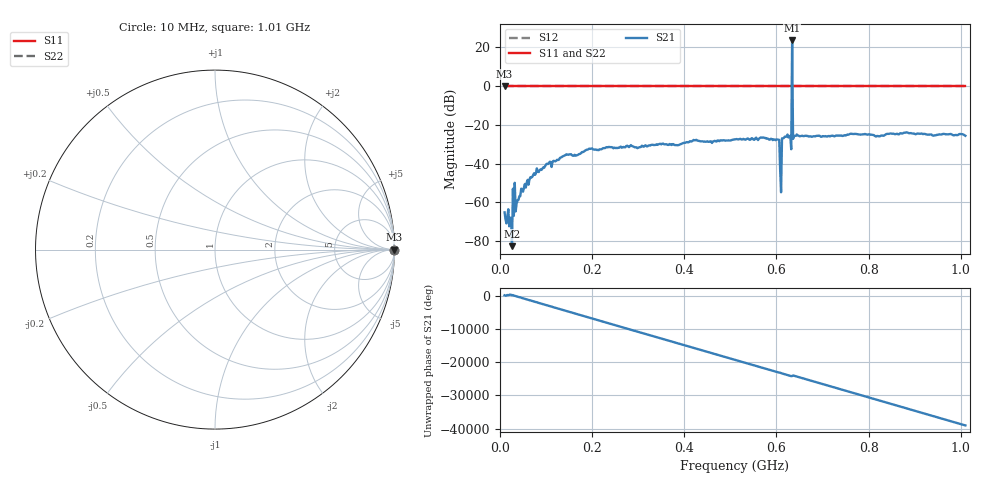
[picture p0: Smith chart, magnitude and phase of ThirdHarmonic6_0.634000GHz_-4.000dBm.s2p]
! 8/15/2025 8:55:41 PM
! C:\ANRITSUVNA\TEMP\TEMP.S2P
! CHANNEL.1
! TR.MEASUREMENT
! RAW.DATA
! RF.CORRECTION.OFF
! AVERAGING.OFF
! IF.BANDWIDTH: 5KHZ
! SWEEPTYPE:  FREQ.SWEEP(Linear)
! Reference Plane Port Info
! PORT:  PORT1  PORT2
! DISTANCE:  0  m  0  m
! TIME:  0  s  0  s
! PHASE.OFFSET:  0  deg.  0  deg.
! LOSS:  0  dB  0  dB
! REF.LOSS:  0  dB  0  dB
! REF.FREQ:  0  Hz  0  Hz
! Power Info
! POWER:  -20  dBm  -20  dBm
! EFF.POWER:  -20  dBm  -20  dBm
! SOURCE.ATTEN:  0  dB  0  dB
! TEST.ATTEN:  0  dB  0  dB
# GHZ S RI R 50.0
! FREQ.GHZ  S11RE  S11IM  S21RE  S21IM  S12RE  S12IM  S22RE  S22IM
!; PortSelection: Port_12
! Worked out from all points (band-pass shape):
!   501 points, 10 MHz to 1.01 GHz, reference 50 ohm
!   highest |S21| = 23.37 dB at 634 MHz (marker M1); lowest = -82.5 dB at 26 MHz (marker M2)
!   |S21| within 3 dB of the highest: 633.8928 MHz to 634.1185 MHz (225.6 kHz wide, 0.0356 % of centre)
!   lowest |S11| = 0.0 dB at 10 MHz (marker M3)
!   |S11| at or under -10 dB: nowhere
!   |S22| runs from 0.0 to 0.0 dB; largest |S21 - S12| = 14
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0.01  1 0  -0.000547 9.79e-05  1 0  1 0
0.022  1 0  0.000325 0.000243  1 0  1 0
0.026  1 0  -6.9e-05 -2.95e-05  1 0  1 0
0.032  1 0  0.00288 0.0014  1 0  1 0
0.038  1 0  -0.000329 0.00109  1 0  1 0
0.076  1 0  0.00515 -3.23e-05  1 0  1 0
0.14  1 0  0.00368 -0.0158  1 0  1 0
0.178  1 0  -0.0194 -0.00417  1 0  1 0
0.344  1 0  0.03 -0.0082  1 0  1 0
0.51  1 0  -0.0377 0.018  1 0  1 0
0.602  1 0  0.0218 0.0357  1 0  1 0
0.606  1 0  -0.00628 -0.0403  1 0  1 0
0.612  1 0  0.0423 0.0139  1 0  1 0
0.616  1 0  -0.0339 -0.0304  1 0  1 0
0.628  1 0  -0.00453 0.0504  1 0  1 0
0.63  1 0  0.0499 0.0143  1 0  1 0
0.634  1 0  10.6 -10.23  1 0  1 0
0.638  1 0  0.0344 0.0385  1 0  1 0
0.64  1 0  0.0434 -0.028  1 0  1 0
0.678  1 0  -0.0286 -0.0405  1 0  1 0
0.844  1 0  0.0472 0.034  1 0  1 0
1.01  1 0  -0.0518 -0.00379  1 0  1 0
